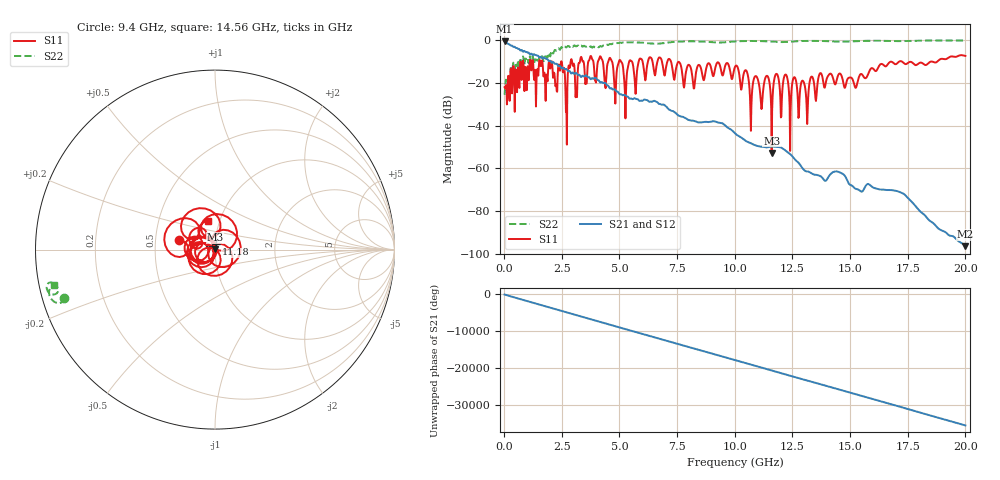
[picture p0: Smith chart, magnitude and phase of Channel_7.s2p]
! Created Sun Jun 24 21:05:14 2012
# hz S ma R 100
! 2 Port Network Data from SP1.SP block
! freq  magS11  angS11  magS21  angS21  magS12  angS12  magS22  angS22
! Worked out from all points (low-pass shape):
!   1000 points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, 20 MHz to 20 GHz, reference 100 ohm
!   highest |S21| = -0.57 dB at 20 MHz (marker M1); lowest = -96.4 dB at 20 GHz (marker M2)
!   |S21| within 3 dB of the highest: start of sweep to 499.8 MHz
!   lowest |S11| = -52.8 dB at 11.6 GHz (marker M3), VSWR 1.00, Z = 99.9 + j0.45 ohm
!   |S11| at or under -10 dB: start of sweep to 709.6 MHz; 7.233 GHz to 17.13 GHz (9.897 GHz wide, 81.2 % of centre); 17.25 GHz to 18.52 GHz (1.27 GHz wide, 7.1 % of centre)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
!   |S22| runs from -25.5 to -0.1 dB; largest |S21 - S12| = 0.0002
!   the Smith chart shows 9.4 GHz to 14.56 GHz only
!   S11 on the Smith chart (normalised r, x): 9.4 GHz: 0.66, +0.07; 11.18 GHz: 1.01, +0.06; 14.56 GHz: 0.88, +0.29
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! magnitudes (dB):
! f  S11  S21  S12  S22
! 20 MHz  -22.1  -0.6  -0.6  -25.5
! 1.58 GHz  -12.1  -7.8  -7.8  -11.3
! 2.52 GHz  -12.0  -13.0  -13.0  -3.6
! 2.66 GHz  -24.3  -13.5  -13.5  -3.2
! 3.36 GHz  -8.2  -17.1  -17.1  -2.6
! 4.6 GHz  -8.4  -22.6  -22.6  -1.8
! 4.82 GHz  -29.7  -23.2  -23.2  -1.5
! 5.04 GHz  -9.5  -25.3  -25.3  -1.2
! 5.26 GHz  -36.6  -25.9  -25.9  -1.1
! 5.48 GHz  -9.5  -27.3  -27.3  -1.0
! 6.68 GHz  -8.8  -29.5  -29.5  -1.6
! 9.4 GHz  -13.7  -38.8  -38.8  -1.1
! 10.02 GHz  -12.3  -43.7  -43.7  -0.6
! 11.18 GHz  -30.4  -49.9  -49.9  -0.5
! 11.4 GHz  -16.7  -50.1  -50.2  -0.5
! 11.6 GHz  -52.8  -49.7  -49.7  -0.7
! 11.8 GHz  -15.8  -49.9  -50.0  -0.8
! 12.4 GHz  -51.8  -53.3  -53.3  -0.7
! 13.34 GHz  -17.0  -62.4  -62.4  -0.3
! 14.56 GHz  -15.6  -61.9  -61.9  -0.7
! 16.68 GHz  -10.7  -70.1  -70.1  -0.4
! 20 GHz  -7.4  -96.4  -96.5  -0.2
